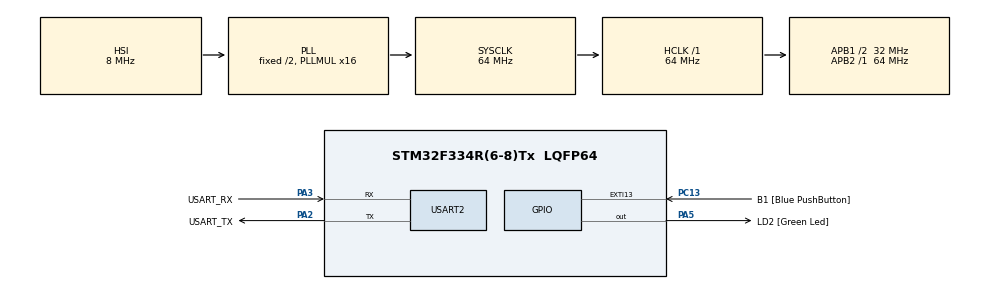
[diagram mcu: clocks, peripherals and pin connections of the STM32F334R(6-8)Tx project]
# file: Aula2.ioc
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Mcu.Family=STM32F3
Mcu.Name=STM32F334R(6-8)Tx
Mcu.Package=LQFP64
NVIC.PriorityGroup=NVIC_PRIORITYGROUP_0
PA13.GPIO_Label=TMS
PA13.Mode=Serial_Wire
PA13.Signal=SYS_JTMS-SWDIO
PA14.GPIO_Label=TCK
PA14.Mode=Serial_Wire
PA14.Signal=SYS_JTCK-SWCLK
PA2.GPIO_Label=USART_TX
PA2.Mode=Asynchronous
PA2.Signal=USART2_TX
PA3.GPIO_Label=USART_RX
PA3.Mode=Asynchronous
PA3.Signal=USART2_RX
PA5.GPIO_Label=LD2 [Green Led]
PA5.Signal=GPIO_Output
PB3.GPIO_Label=SWO
PB3.Signal=SYS_JTDO-TRACESWO
PC13.GPIO_Label=B1 [Blue PushButton]
PC13.GPIO_ModeDefaultEXTI=GPIO_MODE_IT_FALLING
PC13.Signal=GPXTI13
PC14\ /\ OSC32_IN.Mode=LSE-External-Oscillator
PC14\ /\ OSC32_IN.Signal=RCC_OSC32_IN
PC15\ /\ OSC32_OUT.GPIO_Label=RCC_OSC32_OUT
PC15\ /\ OSC32_OUT.Mode=LSE-External-Oscillator
PC15\ /\ OSC32_OUT.Signal=RCC_OSC32_OUT
PF0\ /\ OSC_IN.Mode=HSE-External-Clock-Source
PF0\ /\ OSC_IN.Signal=RCC_OSC_IN
PF1\ /\ OSC_OUT.Signal=RCC_OSC_OUT
ProjectManager.HeapSize=0x200
ProjectManager.StackSize=0x400
ProjectManager.TargetToolchain=CMake
RCC.AHBFreq_Value=64000000
RCC.APB1CLKDivider=RCC_HCLK_DIV2
RCC.APB1Freq_Value=32000000
RCC.APB1TimFreq_Value=64000000
RCC.APB2Freq_Value=64000000
RCC.APB2TimFreq_Value=64000000
RCC.CortexFreq_Value=64000000
RCC.FLatency-AdvancedSettings=FLASH_LATENCY_2
RCC.HCLKFreq_Value=64000000
RCC.HSE_VALUE=8000000
RCC.HSI_VALUE=8000000
RCC.PLLMUL=RCC_PLL_MUL16
RCC.SYSCLKFreq_VALUE=64000000
RCC.SYSCLKSourceVirtual=RCC_SYSCLKSOURCE_PLLCLK
USART2.VirtualMode-Asynchronous=VM_ASYNC
board=NUCLEO-F334R8

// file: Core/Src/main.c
/* USER CODE BEGIN Header */
/**
  ******************************************************************************
  * @file           : main.c
  * @brief          : Main program body
  ******************************************************************************
  * @attention
  *
  * Copyright (c) 2026 STMicroelectronics.
  * All rights reserved.
  *
  * This software is licensed under terms that can be found in the LICENSE file
  * in the root directory of this software component.
  * If no LICENSE file comes with this software, it is provided AS-IS.
  *
  ******************************************************************************
  */
/* USER CODE END Header */
#include "main.h"
#include "stm32f3xx_hal.h"
#include "stm32f3xx_hal_gpio.h"
#include "usart.h"
#include "gpio.h"

void SystemClock_Config(void);

/* USER CODE BEGIN 0 */
typedef enum {
  piscar,
  atualizar
} Estado;

typedef struct {
  int freqPiscadasPorMinuto;
  int freqPiscadasPorMinutoMin;
  int freqPiscadasPorMinutoMax;
  int intervaloPiscadasPorMinuto;

  int intervaloEntrePiscadas;
} Contexto;
/* USER CODE END 0 */

int main(void)
{

  /* Reset of all peripherals, Initializes the Flash interface and the Systick. */
  HAL_Init();

  /* Configure the system clock */
  SystemClock_Config();

  /* Initialize all configured peripherals */
  MX_GPIO_Init();
  MX_USART2_UART_Init();
  /* USER CODE BEGIN 2 */
  Estado estado = atualizar;
  Contexto ctx = {
    60,
    30,
    15,
  };

  Estado atualizarContexto(Contexto *ctx);

  /* USER CODE END 2 */

  /* Infinite loop */
  while (1)
  {
    switch (estado) {
    case atualizar: {
      estado = atualizarContexto(&ctx);
    }
    case piscar: {

    }
    }

    HAL_GPIO_TogglePin(LD2_GPIO_Port, LD2_Pin);
    HAL_Delay(1000);

  }
}

void SystemClock_Config(void)
{
  RCC_OscInitTypeDef RCC_OscInitStruct = {0};
  RCC_ClkInitTypeDef RCC_ClkInitStruct = {0};

  /** Initializes the RCC Oscillators according to the specified parameters
  * in the RCC_OscInitTypeDef structure.
  */
  RCC_OscInitStruct.OscillatorType = RCC_OSCILLATORTYPE_HSI;
  RCC_OscInitStruct.HSIState = RCC_HSI_ON;
  RCC_OscInitStruct.HSICalibrationValue = RCC_HSICALIBRATION_DEFAULT;
  RCC_OscInitStruct.PLL.PLLState = RCC_PLL_ON;
  RCC_OscInitStruct.PLL.PLLSource = RCC_PLLSOURCE_HSI;
  RCC_OscInitStruct.PLL.PLLMUL = RCC_PLL_MUL16;
  if (HAL_RCC_OscConfig(&RCC_OscInitStruct) != HAL_OK)
  {
    Error_Handler();
  }

  /** Initializes the CPU, AHB and APB buses clocks
  */
  RCC_ClkInitStruct.ClockType = RCC_CLOCKTYPE_HCLK|RCC_CLOCKTYPE_SYSCLK
                              |RCC_CLOCKTYPE_PCLK1|RCC_CLOCKTYPE_PCLK2;
  RCC_ClkInitStruct.SYSCLKSource = RCC_SYSCLKSOURCE_PLLCLK;
  RCC_ClkInitStruct.AHBCLKDivider = RCC_SYSCLK_DIV1;
  RCC_ClkInitStruct.APB1CLKDivider = RCC_HCLK_DIV2;
  RCC_ClkInitStruct.APB2CLKDivider = RCC_HCLK_DIV1;

  if (HAL_RCC_ClockConfig(&RCC_ClkInitStruct, FLASH_LATENCY_2) != HAL_OK)
  {
    Error_Handler();
  }
}

/* USER CODE BEGIN 4 */
Estado atualizarContexto(Contexto *ctx) {
  if (ctx->freqPiscadasPorMinuto == ctx->freqPiscadasPorMinutoMax) {
    ctx->freqPiscadasPorMinuto = ctx->freqPiscadasPorMinutoMin;
  } else {
    ctx->freqPiscadasPorMinuto = ctx->freqPiscadasPorMinuto + ctx->intervaloPiscadasPorMinuto;
  }

  return piscar;
}

Estado piscar(Contexto *ctx) {
  HAL_GPIO_TogglePin(LD2_GPIO_Port, LD2_Pin);
  HAL_Delay((1/(ctx->freqPiscadasPorMinuto/60))/2);
  HAL_GPIO_TogglePin(LD2_GPIO_Port, LD2_Pin);
  HAL_Delay((1/(ctx->freqPiscadasPorMinuto/60))/2);
}

/* USER CODE END 4 */

void Error_Handler(void)
{
  __disable_irq();
  while (1)
  {
  }
}
